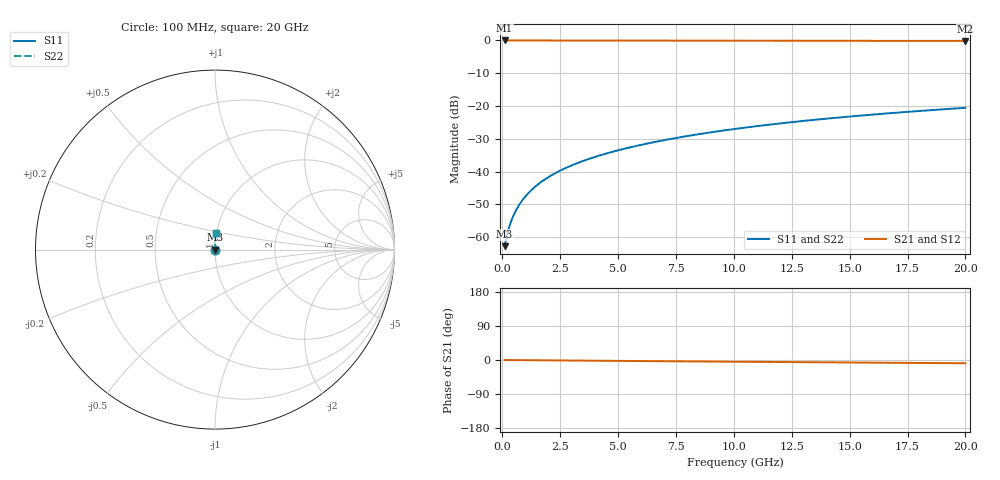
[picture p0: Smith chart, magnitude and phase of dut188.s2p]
! Touchstone file exported from HFSS 2024.1.0
!  File:  C:/UserFiles/LocalFiles/RDL_TSV_Batchsim/temp_RDL_top_188_1778686538.aedt
!  Generated:  11:37:48 PM May 13, 2026
!  Design:  RDL_top
!  Project:  temp_RDL_top_188_1778686538
!  Setup:  Setup1
!  Solution:  Sweep
! Variables:
!  dtsv = 10.80580581um
!  hbump = 3um
!  htsv = 67.96um
!  ldown = 100um
!  lrdl = 104.19um
!  p = 40
!  p1 = 43.12um
!  rhole = 1um
!  t = 450um
!  tdown = 3.915915916um
!  trdl = 4.33um
!  wdown = 15.38538539um
!  wrdl = 21.69um
# GHz S MA R 50.000000
! Terminal data exported
! Port[1] = Box2_T1
! Port[2] = Box2_T2
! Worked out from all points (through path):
!   200 points, 100 MHz to 20 GHz, reference 50 ohm
!   highest |S21| = -0.01 dB at 100 MHz (marker M1); lowest = -0.2 dB at 20 GHz (marker M2)
!   group delay of S21, straight-line fit = 1.18 ps
!   lowest |S11| = -62.7 dB at 100 MHz (marker M3), VSWR 1.00, Z = 50.1 + j0.0456 ohm
!   |S11| at or under -10 dB: start of sweep to end of sweep
!   |S22| runs from -62.7 to -20.5 dB; largest |S21 - S12| = 4.1e-15
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0.1  0.0007327 38.4  0.9994 -0.1  0.9994 -0.1  0.0007327 38.4
! Gamma 0 0 0 0
! Port Impedance 50 0 50 0
0.2  0.001075 55.8  0.9994 -0.1  0.9994 -0.1  0.001075 55.8
0.3  0.001449 64.2  0.9994 -0.2  0.9994 -0.2  0.001449 64.2
0.4  0.001831 69.3  0.9993 -0.2  0.9993 -0.2  0.001831 69.3
0.5  0.002218 72.7  0.9993 -0.2  0.9993 -0.2  0.002218 72.7
0.6  0.002609 75.3  0.9993 -0.3  0.9993 -0.3  0.002609 75.3
0.8  0.003401 78.8  0.9992 -0.4  0.9992 -0.4  0.003401 78.8
1.1  0.004609 81.9  0.9991 -0.5  0.9991 -0.5  0.004609 81.9
1.5  0.006239 84.3  0.999 -0.7  0.999 -0.7  0.006239 84.3
1.8  0.007473 85.5  0.9988 -0.9  0.9988 -0.9  0.007473 85.5
2.1  0.008715 86.4  0.9987 -1.0  0.9987 -1.0  0.008715 86.4
2.7  0.01122 87.7  0.9983 -1.3  0.9983 -1.3  0.01122 87.7
3.5  0.01462 88.8  0.9977 -1.7  0.9977 -1.7  0.01462 88.8
4.2  0.01764 89.5  0.9971 -2.0  0.9971 -2.0  0.01764 89.5
5  0.02117 90.0  0.9964 -2.4  0.9964 -2.4  0.02117 90.0
5.9  0.02521 90.4  0.9955 -2.8  0.9955 -2.8  0.02521 90.4
6.8  0.02935 90.6  0.9946 -3.2  0.9946 -3.2  0.02935 90.6
8.4  0.03688 90.6  0.9929 -3.9  0.9929 -3.9  0.03688 90.6
10.1  0.04508 90.2  0.9913 -4.6  0.9913 -4.6  0.04508 90.2
13.4  0.06132 89.0  0.9883 -5.9  0.9883 -5.9  0.06132 89.0
16.7  0.07769 87.4  0.9855 -7.3  0.9855 -7.3  0.0777 87.4
20  0.09401 85.7  0.9829 -8.6  0.9829 -8.6  0.09402 85.7
